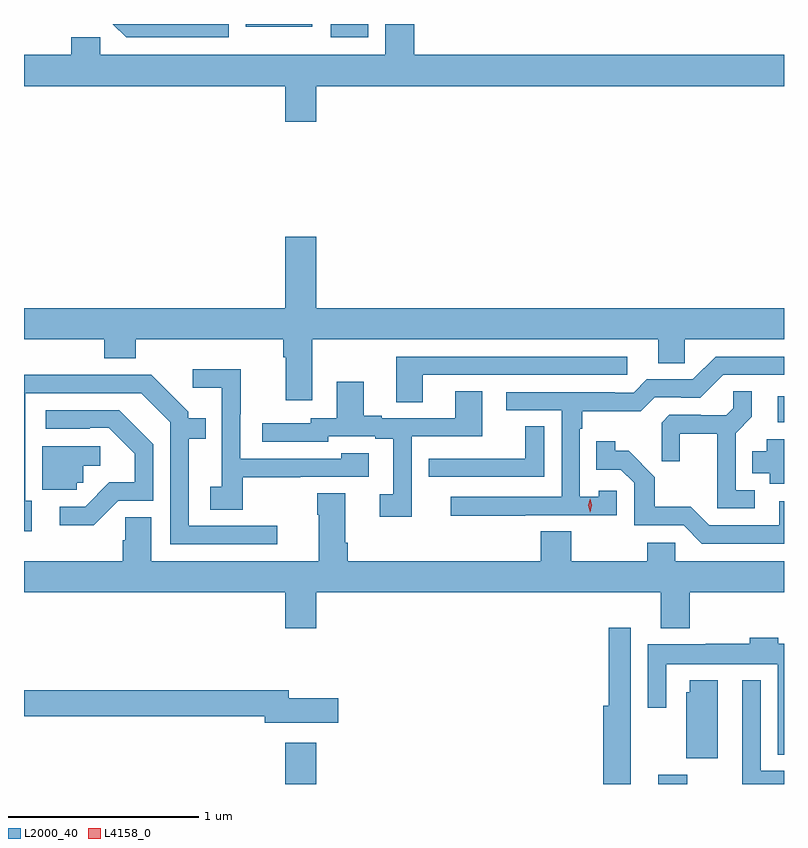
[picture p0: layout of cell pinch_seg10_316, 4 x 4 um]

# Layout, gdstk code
import gdstk
lib = gdstk.Library(unit=1e-6, precision=1e-09)
def R(c, l, rs):  # rectangles x0, y0, x1, y1
    for r in rs: c.add(gdstk.rectangle(r[:2], r[2:], *l))
def P(c, l, *ps):  # polygons
    for p in ps: c.add(gdstk.Polygon(p, *l))
L2000_40 = (2000, 40)
L4158_0 = (4158, 0)

pinch_seg10_316 = lib.new_cell('pinch_seg10_316')
R(pinch_seg10_316, L2000_40, [(500.672,1281.991,500.836,1282.207), (502.637,1281.991,502.789,1282.041), (503.265,1283.895,503.298,1284.031), (500.913,1285.92,501.111,1285.991), (500.465,1285.976,500.815,1285.991)])
P(pinch_seg10_316, L2000_40, [(500.836,1285.664),(503.298,1285.664),(503.298,1285.828),(501.353,1285.828),(501.353,1285.991),(501.2,1285.991),(501.2,1285.828),(499.698,1285.828),(499.698,1285.921),(499.547,1285.921),(499.547,1285.828),(499.298,1285.828),(499.298,1285.664),(500.672,1285.664),(500.672,1285.476),(500.836,1285.476)],
  [(500.376,1285.991),(499.765,1285.991),(499.836,1285.92),(500.376,1285.92)],
  [(500.815,1284.332),(502.637,1284.332),(502.637,1284.205),(502.776,1284.205),(502.776,1284.332),(503.298,1284.332),(503.298,1284.496),(500.836,1284.496),(500.836,1284.871),(500.672,1284.871),(500.672,1284.496),(499.298,1284.496),(499.298,1284.332),(499.721,1284.332),(499.721,1284.233),(499.886,1284.233),(499.886,1284.332),(500.663,1284.332),(500.663,1284.236),(500.675,1284.236),(500.675,1284.012),(500.815,1284.012)],
  [(501.397,1284.144),(502.474,1284.144),(502.474,1284.24),(501.257,1284.24),(501.257,1284.001),(501.397,1284.001)],
  [(501.935,1283.406),(502.419,1283.406),(502.419,1283.535),(502.323,1283.535),(502.323,1283.503),(502.224,1283.503),(502.224,1283.861),(502.237,1283.861),(502.237,1283.954),(502.544,1283.954),(502.617,1284.027),(502.756,1284.027),(502.756,1284.024),(502.857,1284.024),(502.977,1284.144),(503.298,1284.144),(503.298,1284.24),(502.938,1284.24),(502.818,1284.12),(502.575,1284.12),(502.506,1284.051),(502.406,1284.051),(502.406,1284.054),(501.837,1284.054),(501.837,1283.958),(502.128,1283.958),(502.128,1283.502),(501.543,1283.502),(501.543,1283.404),(501.935,1283.404)],
  [(500.449,1283.605),(500.753,1283.605),(500.753,1283.607),(501.112,1283.607),(501.112,1283.731),(500.967,1283.731),(500.967,1283.703),(500.436,1283.703),(500.436,1283.936),(500.439,1283.936),(500.439,1284.175),(500.187,1284.175),(500.187,1284.077),(500.34,1284.077),(500.34,1283.556),(500.277,1283.556),(500.277,1283.434),(500.449,1283.434)],
  [(500.632,1283.349),(500.164,1283.349),(500.164,1283.808),(500.255,1283.808),(500.255,1283.917),(500.163,1283.917),(500.163,1283.949),(499.968,1284.144),(499.637,1284.144),(499.637,1284.146),(499.298,1284.146),(499.298,1283.322),(499.339,1283.322),(499.339,1283.482),(499.305,1283.482),(499.305,1284.048),(499.914,1284.048),(500.067,1283.895),(500.067,1283.253),(500.632,1283.253)],
  [(501.339,1283.82),(501.709,1283.82),(501.709,1284.059),(501.569,1284.059),(501.569,1283.916),(501.181,1283.916),(501.181,1283.929),(501.085,1283.929),(501.085,1284.109),(500.945,1284.109),(500.945,1283.916),(500.808,1283.916),(500.808,1283.889),(500.553,1283.889),(500.553,1283.793),(500.898,1283.793),(500.898,1283.82),(501.146,1283.82),(501.146,1283.808),(501.242,1283.808),(501.242,1283.517),(501.171,1283.517),(501.171,1283.397),(501.339,1283.397)],
  [(503.143,1283.538),(503.043,1283.538),(503.043,1283.837),(503.129,1283.923),(503.129,1284.059),(503.031,1284.059),(503.031,1283.968),(502.994,1283.931),(502.86,1283.931),(502.86,1283.934),(502.695,1283.934),(502.654,1283.893),(502.654,1283.691),(502.748,1283.691),(502.748,1283.834),(502.946,1283.834),(502.946,1283.442),(503.143,1283.442)],
  [(499.794,1283.481),(499.977,1283.481),(499.977,1283.779),(499.798,1283.958),(499.413,1283.958),(499.413,1283.862),(499.643,1283.862),(499.643,1283.865),(499.743,1283.865),(499.88,1283.728),(499.88,1283.578),(499.747,1283.578),(499.62,1283.451),(499.485,1283.451),(499.485,1283.354),(499.666,1283.354)],
  [(502.035,1283.873),(501.937,1283.873),(501.937,1283.703),(501.541,1283.703),(501.541,1283.702),(501.429,1283.702),(501.429,1283.607),(502.035,1283.607)],
  [(503.298,1283.806),(503.207,1283.806),(503.207,1283.743),(503.132,1283.743),(503.132,1283.627),(503.222,1283.627),(503.222,1283.57),(503.298,1283.57)],
  [(503.298,1283.478),(503.273,1283.478),(503.273,1283.352),(502.905,1283.352),(502.807,1283.451),(502.618,1283.451),(502.618,1283.606),(502.48,1283.744),(502.41,1283.744),(502.41,1283.794),(502.309,1283.794),(502.309,1283.646),(502.44,1283.646),(502.509,1283.577),(502.509,1283.352),(502.77,1283.352),(502.866,1283.256),(503.298,1283.256)],
  [(499.575,1283.577),(499.611,1283.577),(499.611,1283.666),(499.699,1283.666),(499.699,1283.769),(499.394,1283.769),(499.394,1283.541),(499.575,1283.541)],
  [(502.802,1283),(503.298,1283),(503.298,1283.164),(502.725,1283.164),(502.725,1283.262),(502.579,1283.262),(502.579,1283.164),(502.179,1283.164),(502.179,1283.321),(502.019,1283.321),(502.019,1283.164),(501.002,1283.164),(501.002,1283.26),(500.989,1283.26),(500.989,1283.521),(500.842,1283.521),(500.842,1283.408),(500.849,1283.408),(500.849,1283.164),(499.969,1283.164),(499.969,1283.396),(499.831,1283.396),(499.831,1283.274),(499.817,1283.274),(499.817,1283.164),(499.298,1283.164),(499.298,1283),(500.672,1283),(500.672,1282.812),(500.836,1282.812),(500.836,1283),(502.649,1283),(502.649,1282.811),(502.802,1282.811)],
  [(502.492,1282.298),(502.491,1282.298),(502.491,1282.813),(502.375,1282.813),(502.375,1282.402),(502.346,1282.402),(502.346,1281.991),(502.492,1281.991)],
  [(503.298,1282.729),(503.269,1282.729),(503.269,1282.762),(503.117,1282.762),(503.117,1282.729),(502.885,1282.729),(502.885,1282.726),(502.581,1282.726),(502.581,1282.392),(502.677,1282.392),(502.677,1282.622),(503.265,1282.622),(503.265,1282.145),(503.298,1282.145)],
  [(502.948,1282.537),(502.802,1282.537),(502.802,1282.473),(502.784,1282.473),(502.784,1282.126),(502.948,1282.126)],
  [(503.298,1282.06),(503.175,1282.06),(503.175,1282.537),(503.078,1282.537),(503.078,1281.991),(503.298,1281.991)],
  [(500.953,1282.443),(500.692,1282.443),(500.692,1282.484),(499.298,1282.484),(499.298,1282.348),(500.564,1282.348),(500.564,1282.313),(500.953,1282.313)])
P(pinch_seg10_316, L4158_0, [(502.277,1283.421),(502.277,1283.421),(502.267,1283.457),(502.277,1283.493),(502.277,1283.493),(502.277,1283.493),(502.287,1283.457),(502.277,1283.421)])

lib.write_gds('pinch_seg10_316.gds')
